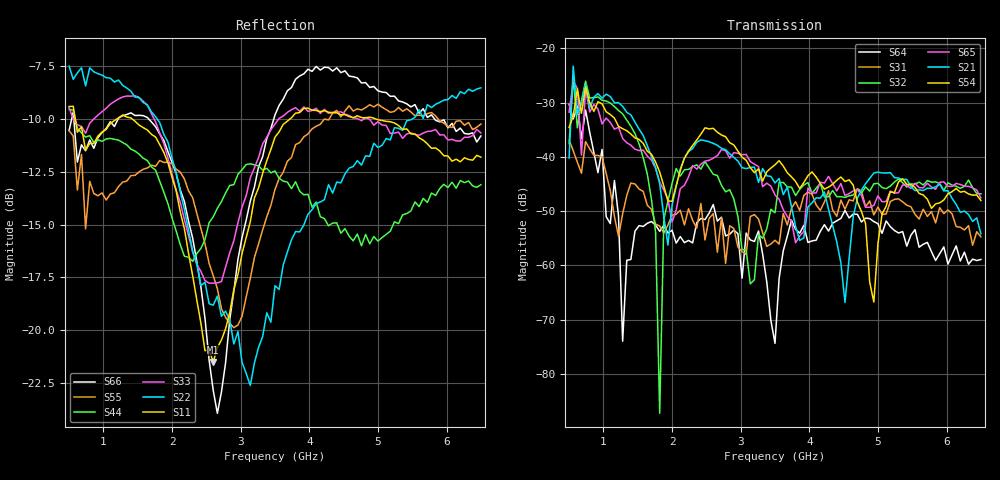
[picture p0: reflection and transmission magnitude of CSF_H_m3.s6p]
!Keysight Technologies,M9804A,MY58100912,A.14.10.03
!Date: Thursday, April 27, 2023 10:28:33
!Correction: S11(C  6-Port  )
!S12(C  6-Port  )
!S13(C  6-Port  )
!S14(C  6-Port  )
!S15(C  6-Port  )
!S16(C  6-Port  )
!S21(C  6-Port  )
!S22(C  6-Port  )
!S23(C  6-Port  )
!S24(C  6-Port  )
!S25(C  6-Port  )
!S26(C  6-Port  )
!S31(C  6-Port  )
!S32(C  6-Port  )
!S33(C  6-Port  )
!S34(C  6-Port  )
!S35(C  6-Port  )
!S36(C  6-Port  )
!S41(C  6-Port  )
!S42(C  6-Port  )
!S43(C  6-Port  )
!S44(C  6-Port  )
!S45(C  6-Port  )
!S46(C  6-Port  )
!S51(C  6-Port  )
!S52(C  6-Port  )
!S53(C  6-Port  )
!S54(C  6-Port  )
!S55(C  6-Port  )
!S56(C  6-Port  )
!S61(C  6-Port  )
!S62(C  6-Port  )
!S63(C  6-Port  )
!S64(C  6-Port  )
!S65(C  6-Port  )
!S66(C  6-Port  )
!S6P File: Measurement: :
# Hz S  RI  R 50
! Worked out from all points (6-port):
!   101 points, 500 MHz to 6.5 GHz, reference 50 ohm
!   strongest paths, dB at 500 MHz, 2 GHz, 3.5 GHz, 5 GHz, 6.5 GHz:
!     S54: -34.6, -48.2, -41.5, -56.0, -48.1
!     S21: -40.2, -48.9, -44.8, -42.8, -54.2
!     S65: -31.8, -52.0, -47.0, -47.2, -47.6
!     S32: -37.5, -44.9, -50.3, -44.9, -46.8
!     S31: -36.9, -50.8, -55.4, -49.3, -54.7
!     S64: -30.3, -53.5, -74.4, -52.3, -58.9
!   lowest |S11| = -21.5 dB at 2.6 GHz (marker M1), VSWR 1.18, Z = 42.5 + j2.19 ohm
!   |S11| at or under -10 dB: 589.8 MHz to 1.192 GHz (602.2 MHz wide, 67.6 % of centre); 1.422 GHz to 3.715 GHz (2.293 GHz wide, 89.3 % of centre); 4.976 GHz to end of sweep
